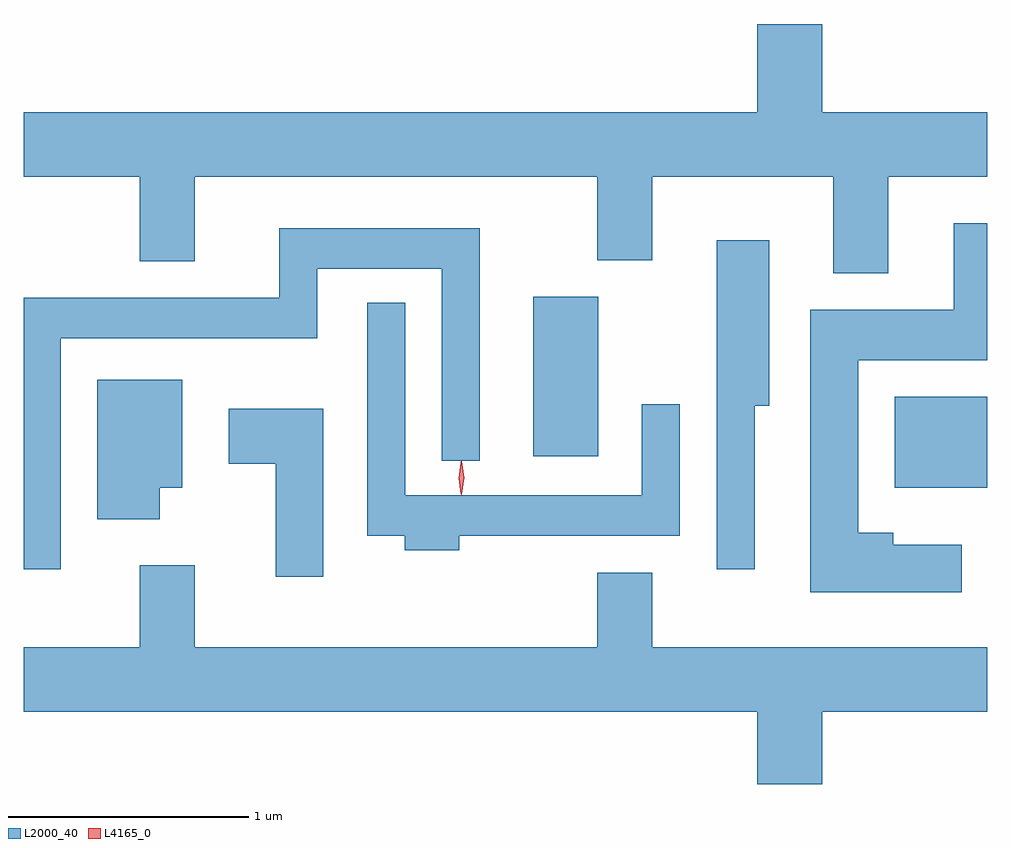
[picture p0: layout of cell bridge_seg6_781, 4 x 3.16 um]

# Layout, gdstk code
import gdstk
lib = gdstk.Library(unit=1e-6, precision=1e-09)
def R(c, l, rs):  # rectangles x0, y0, x1, y1
    for r in rs: c.add(gdstk.rectangle(r[:2], r[2:], *l))
def P(c, l, *ps):  # polygons
    for p in ps: c.add(gdstk.Polygon(p, *l))
L2000_40 = (2000, 40)
L4165_0 = (4165, 0)

bridge_seg6_781 = lib.new_cell('bridge_seg6_781')
R(bridge_seg6_781, L2000_40, [(515.346,1539.866,515.73,1540.244), (513.846,1539.996,514.114,1540.659)])
P(bridge_seg6_781, L2000_40, [(515.319,1541.156),(515.73,1541.156),(515.73,1541.424),(515.044,1541.424),(515.044,1541.791),(514.776,1541.791),(514.776,1541.424),(511.73,1541.424),(511.73,1541.156),(512.211,1541.156),(512.211,1540.806),(512.439,1540.806),(512.439,1541.156),(514.111,1541.156),(514.111,1540.811),(514.339,1540.811),(514.339,1541.156),(515.091,1541.156),(515.091,1540.756),(515.319,1540.756)],
  [(515.624,1539.629),(515.339,1539.629),(515.339,1539.679),(515.194,1539.679),(515.194,1540.396),(515.73,1540.396),(515.73,1540.964),(515.591,1540.964),(515.591,1540.604),(514.996,1540.604),(514.996,1539.431),(515.624,1539.431)],
  [(511.884,1540.486),(512.949,1540.486),(512.949,1540.776),(513.466,1540.776),(513.466,1539.978),(513.624,1539.978),(513.624,1540.944),(512.791,1540.944),(512.791,1540.654),(511.73,1540.654),(511.73,1539.528),(511.884,1539.528)],
  [(514.764,1540.206),(514.824,1540.206),(514.824,1540.894),(514.606,1540.894),(514.606,1539.528),(514.764,1539.528)],
  [(513.539,1539.666),(514.454,1539.666),(514.454,1540.213),(514.296,1540.213),(514.296,1539.834),(513.314,1539.834),(513.314,1540.633),(513.156,1540.633),(513.156,1539.666),(513.311,1539.666),(513.311,1539.606),(513.539,1539.606)],
  [(512.294,1539.866),(512.389,1539.866),(512.389,1540.314),(512.036,1540.314),(512.036,1539.736),(512.294,1539.736)],
  [(512.974,1540.194),(512.581,1540.194),(512.581,1539.966),(512.776,1539.966),(512.776,1539.496),(512.974,1539.496)],
  [(515.044,1538.936),(515.73,1538.936),(515.73,1539.204),(514.339,1539.204),(514.339,1539.514),(514.111,1539.514),(514.111,1539.204),(512.439,1539.204),(512.439,1539.544),(512.211,1539.544),(512.211,1539.204),(511.73,1539.204),(511.73,1538.936),(514.776,1538.936),(514.776,1538.636),(515.044,1538.636)])
P(bridge_seg6_781, L4165_0, [(513.546,1539.839),(513.545,1539.84),(513.535,1539.906),(513.545,1539.972),(513.545,1539.973),(513.546,1539.972),(513.555,1539.906),(513.546,1539.84)],
  [(513.548,1539.837),(513.547,1539.838),(513.538,1539.907),(513.547,1539.976),(513.548,1539.976),(513.548,1539.976),(513.558,1539.907),(513.548,1539.838)])

lib.write_gds('bridge_seg6_781.gds')
